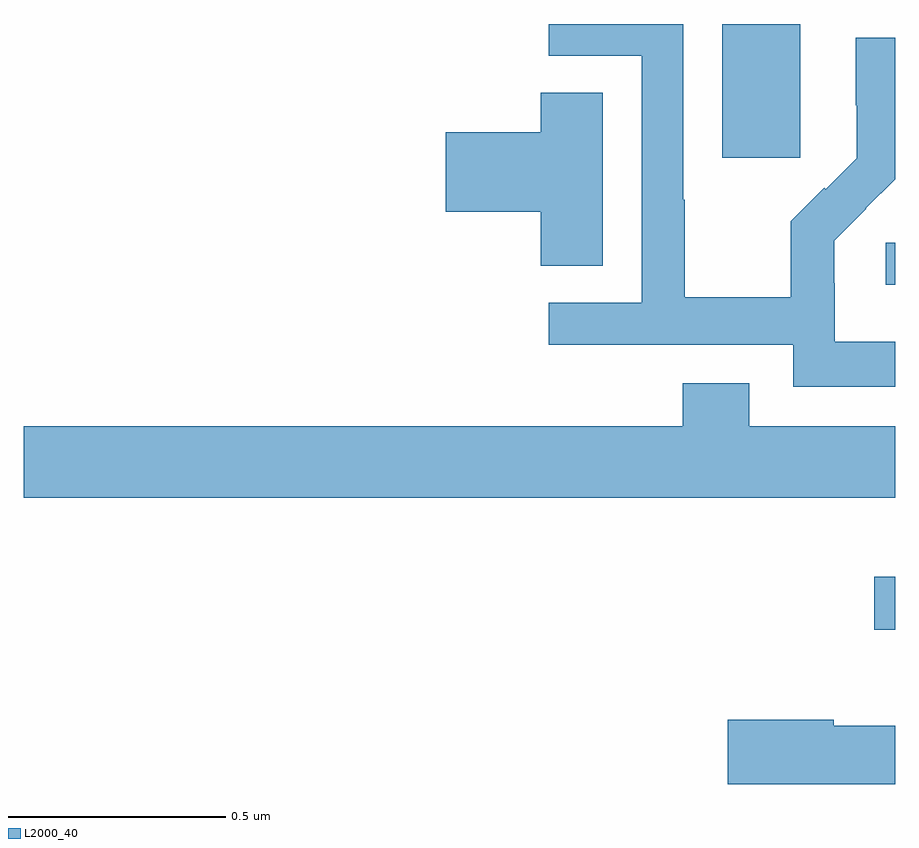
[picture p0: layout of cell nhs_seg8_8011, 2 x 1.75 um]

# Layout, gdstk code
import gdstk
lib = gdstk.Library(unit=1e-6, precision=1e-09)
def R(c, l, rs):  # rectangles x0, y0, x1, y1
    for r in rs: c.add(gdstk.rectangle(r[:2], r[2:], *l))
def P(c, l, *ps):  # polygons
    for p in ps: c.add(gdstk.Polygon(p, *l))
L2000_40 = (2000, 40)

nhs_seg8_8011 = lib.new_cell('nhs_seg8_8011')
R(nhs_seg8_8011, L2000_40, [(218.952,1137.509,219,1137.631), (218.979,1138.301,219,1138.398), (218.603,1138.593,218.782,1138.9)])
P(nhs_seg8_8011, L2000_40, [(219,1138.171),(218.862,1138.171),(218.862,1138.305),(218.86,1138.305),(218.86,1138.402),(218.934,1138.476),(218.933,1138.477),(219,1138.544),(219,1138.868),(218.91,1138.868),(218.91,1138.714),(218.912,1138.714),(218.912,1138.592),(218.841,1138.521),(218.838,1138.524),(218.761,1138.447),(218.761,1138.273),(218.517,1138.273),(218.517,1138.496),(218.514,1138.496),(218.514,1138.9),(218.205,1138.9),(218.205,1138.827),(218.418,1138.827),(218.418,1138.26),(218.205,1138.26),(218.205,1138.164),(218.766,1138.164),(218.766,1138.067),(219,1138.067)],
  [(218.329,1138.742),(218.186,1138.742),(218.186,1138.652),(217.968,1138.652),(217.968,1138.469),(218.186,1138.469),(218.186,1138.345),(218.329,1138.345)],
  [(219,1137.976),(218.665,1137.976),(218.665,1138.075),(218.513,1138.075),(218.513,1137.976),(217,1137.976),(217,1137.812),(219,1137.812)],
  [(219,1137.289),(218.859,1137.289),(218.859,1137.302),(218.616,1137.302),(218.616,1137.155),(219,1137.155)])

lib.write_gds('nhs_seg8_8011.gds')
